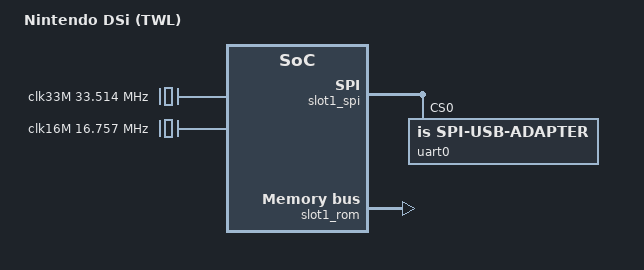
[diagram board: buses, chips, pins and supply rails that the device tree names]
// SPDX-License-Identifier: GPL-2.0-only

/dts-v1/;

/ {
	compatible = "nintendo,twl";
	model = "Nintendo DSi (TWL)";

	#address-cells = <1>;
	#size-cells = <1>;
	interrupt-parent = <&pic>;

	cpus {
		#address-cells = <1>;
		#size-cells = <0>;

		cpu@0 {
			compatible = "arm,arm946e-s";
			device_type = "cpu";
			reg = <0>;
		};
	};

	memory@2000000 {
		device_type = "memory";
		reg = <0x2000000 (0x1000000-32768)>;
	};

	aliases {
		serial0 = &uart0;
	};

	chosen {
		#address-cells = <1>;
		#size-cells = <1>;
		ranges;

		bootargs = "debug earlyprintk earlycon=ntr keep_bootcon";

		stdout-path = "serial0:115200n8";

		framebuffer0: framebuffer@6800000 {
			compatible = "simple-framebuffer";
			reg = <0x6800000 (256 * 192 * 2)>;
			width = <256>;
			height = <192>;
			stride = <(256 * 2)>;
			format = "a1r5g5b5";
		};
	};

	soc {
		compatible = "simple-bus";
		#address-cells = <1>;
		#size-cells = <1>;
		ranges;

		pic: interrupt-controller@4000208 {
			compatible = "nintendo,ntr-irqc";
			reg = <0x4000208 0x10>;
			#interrupt-cells = <1>;
			interrupt-controller;
		};

		pit: timer@4000100 {
			compatible = "nintendo,ntr-timer";
			reg = <0x4000100 0x10>;
			interrupts = <3>, <4>, <5>, <6>;
		};

		dma: dma@40000b0 {
			compatible = "nintendo,ntr-dma";
			reg = <0x40000b0 0x40>;
			interrupts = <8>, <9>, <10>, <11>;
			#dma-cells = <1>;
		};

		ndma: dma@4004100 {
			compatible = "nintendo,twl-ndma";
			reg = <0x4004100 0x80>;
			interrupts = <28>, <29>, <30>, <31>;
			#dma-cells = <2>;
		};

		slot1: mfd@40001a0 {
			#address-cells = <0>;
			#size-cells = <0>;

			compatible = "nintendo,ntr-slot1";
			reg = <0x40001a0 0x20>;
		};

		slot1_spi: spi@40001a0 {
			#address-cells = <1>;
			#size-cells = <0>;

			compatible = "nintendo,ntr-slot1-spi";
			reg = <0x40001a0 0x02>;

			num-cs = <1>;

			uart0: serial@0 {
				compatible = "is,spi-usb-adapter";
				reg = <0>;
			};
		};

		slot1_rom: rom@40001a0 {
			compatible = "nintendo,ntr-slot1-rom";
			reg = <0x40001a0 0x20>;
			interrupts = <19>, <20>;
		};
	};

	clocks {
		clk33M: clk-33M {
			compatible = "fixed-clock";
			#clock-cells = <0>;
			clock-frequency = <33513982>;
			clock-output-names = "clk33M";
		};

		clk16M: clk-16M {
			compatible = "fixed-clock";
			#clock-cells = <0>;
			clock-frequency = <16756991>;
			clock-output-names = "clk16M";
		};
	};
};
